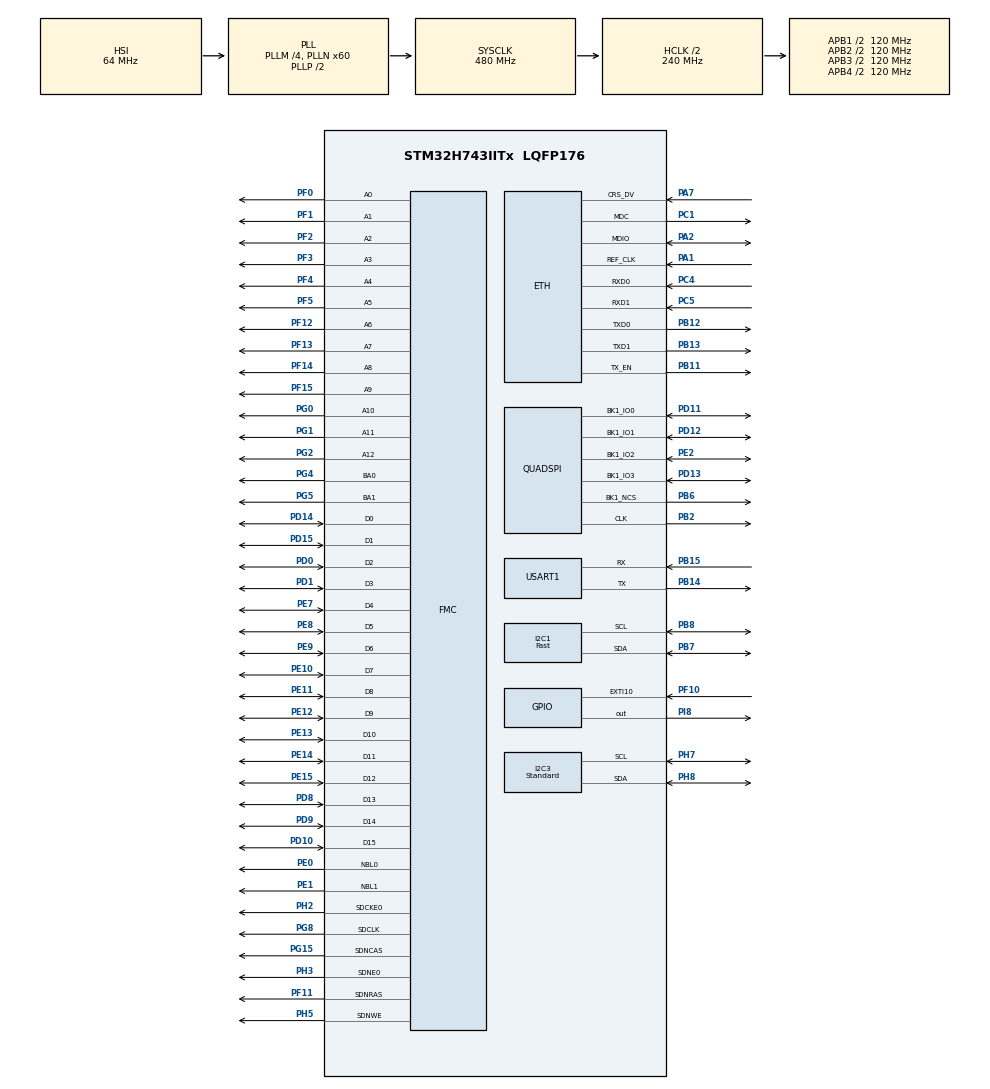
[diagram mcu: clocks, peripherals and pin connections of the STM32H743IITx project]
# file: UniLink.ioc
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CORTEX_M7.BaseAddress_S-Cortex_Memory_Protection_Unit_Region1_Settings_S=0xC0000000
CORTEX_M7.CPU_ICache=Disabled
CORTEX_M7.Enable_S-Cortex_Memory_Protection_Unit_Region1_Settings_S=MPU_REGION_ENABLE
CORTEX_M7.IsBufferable_S-Cortex_Memory_Protection_Unit_Region1_Settings_S=MPU_ACCESS_BUFFERABLE
CORTEX_M7.IsCacheable_S-Cortex_Memory_Protection_Unit_Region1_Settings_S=MPU_ACCESS_CACHEABLE
CORTEX_M7.Size_S-Cortex_Memory_Protection_Unit_Region1_Settings_S=MPU_REGION_SIZE_32MB
CORTEX_M7.TypeExtField_S-Cortex_Memory_Protection_Unit_Region1_Settings_S=MPU_TEX_LEVEL1
CORTEX_M7.default_mode_Activation=0
CRC.CRCLength=CRC_POLYLENGTH_16B
CRC.DefaultInitValueUse=DEFAULT_INIT_VALUE_DISABLE
CRC.DefaultPolynomialUse=DEFAULT_POLYNOMIAL_DISABLE
CRC.GeneratingPolynomial=X15+X2+X0
CRC.InitValue=0xffff
CRC.InputDataInversionMode=CRC_INPUTDATA_INVERSION_BYTE
CRC.OutputDataInversionMode=CRC_OUTPUTDATA_INVERSION_ENABLE
Dma.I2C1_RX.0.Direction=DMA_PERIPH_TO_MEMORY
Dma.I2C1_RX.0.EventEnable=DISABLE
Dma.I2C1_RX.0.FIFOMode=DMA_FIFOMODE_DISABLE
Dma.I2C1_RX.0.Instance=DMA1_Stream0
Dma.I2C1_RX.0.MemDataAlignment=DMA_MDATAALIGN_BYTE
Dma.I2C1_RX.0.MemInc=DMA_MINC_ENABLE
Dma.I2C1_RX.0.Mode=DMA_NORMAL
Dma.I2C1_RX.0.PeriphDataAlignment=DMA_PDATAALIGN_BYTE
Dma.I2C1_RX.0.PeriphInc=DMA_PINC_DISABLE
Dma.I2C1_RX.0.Polarity=HAL_DMAMUX_REQ_GEN_RISING
Dma.I2C1_RX.0.Priority=DMA_PRIORITY_VERY_HIGH
Dma.I2C1_RX.0.RequestNumber=1
Dma.I2C1_RX.0.SignalID=NONE
Dma.I2C1_RX.0.SyncEnable=DISABLE
Dma.I2C1_RX.0.SyncPolarity=HAL_DMAMUX_SYNC_NO_EVENT
Dma.I2C1_RX.0.SyncRequestNumber=1
Dma.I2C1_RX.0.SyncSignalID=NONE
Dma.I2C1_TX.1.Direction=DMA_MEMORY_TO_PERIPH
Dma.I2C1_TX.1.EventEnable=DISABLE
Dma.I2C1_TX.1.FIFOMode=DMA_FIFOMODE_DISABLE
Dma.I2C1_TX.1.Instance=DMA1_Stream1
Dma.I2C1_TX.1.MemDataAlignment=DMA_MDATAALIGN_BYTE
Dma.I2C1_TX.1.MemInc=DMA_MINC_ENABLE
Dma.I2C1_TX.1.Mode=DMA_NORMAL
Dma.I2C1_TX.1.PeriphDataAlignment=DMA_PDATAALIGN_BYTE
Dma.I2C1_TX.1.PeriphInc=DMA_PINC_DISABLE
Dma.I2C1_TX.1.Polarity=HAL_DMAMUX_REQ_GEN_RISING
Dma.I2C1_TX.1.Priority=DMA_PRIORITY_VERY_HIGH
Dma.I2C1_TX.1.RequestNumber=1
Dma.I2C1_TX.1.SignalID=NONE
Dma.I2C1_TX.1.SyncEnable=DISABLE
Dma.I2C1_TX.1.SyncPolarity=HAL_DMAMUX_SYNC_NO_EVENT
Dma.I2C1_TX.1.SyncRequestNumber=1
Dma.I2C1_TX.1.SyncSignalID=NONE
Dma.Request0=I2C1_RX
Dma.Request1=I2C1_TX
Dma.Request2=USART1_RX
Dma.Request3=USART1_TX
Dma.USART1_RX.2.Direction=DMA_PERIPH_TO_MEMORY
Dma.USART1_RX.2.EventEnable=DISABLE
Dma.USART1_RX.2.FIFOMode=DMA_FIFOMODE_DISABLE
Dma.USART1_RX.2.Instance=DMA1_Stream2
Dma.USART1_RX.2.MemDataAlignment=DMA_MDATAALIGN_BYTE
Dma.USART1_RX.2.MemInc=DMA_MINC_ENABLE
Dma.USART1_RX.2.Mode=DMA_NORMAL
Dma.USART1_RX.2.PeriphDataAlignment=DMA_PDATAALIGN_BYTE
Dma.USART1_RX.2.PeriphInc=DMA_PINC_DISABLE
Dma.USART1_RX.2.Polarity=HAL_DMAMUX_REQ_GEN_RISING
Dma.USART1_RX.2.Priority=DMA_PRIORITY_VERY_HIGH
Dma.USART1_RX.2.RequestNumber=1
Dma.USART1_RX.2.SignalID=NONE
Dma.USART1_RX.2.SyncEnable=DISABLE
Dma.USART1_RX.2.SyncPolarity=HAL_DMAMUX_SYNC_NO_EVENT
Dma.USART1_RX.2.SyncRequestNumber=1
Dma.USART1_RX.2.SyncSignalID=NONE
Dma.USART1_TX.3.Direction=DMA_MEMORY_TO_PERIPH
Dma.USART1_TX.3.EventEnable=DISABLE
Dma.USART1_TX.3.FIFOMode=DMA_FIFOMODE_DISABLE
Dma.USART1_TX.3.Instance=DMA1_Stream3
Dma.USART1_TX.3.MemDataAlignment=DMA_MDATAALIGN_BYTE
Dma.USART1_TX.3.MemInc=DMA_MINC_ENABLE
Dma.USART1_TX.3.Mode=DMA_NORMAL
Dma.USART1_TX.3.PeriphDataAlignment=DMA_PDATAALIGN_BYTE
Dma.USART1_TX.3.PeriphInc=DMA_PINC_DISABLE
Dma.USART1_TX.3.Polarity=HAL_DMAMUX_REQ_GEN_RISING
Dma.USART1_TX.3.Priority=DMA_PRIORITY_VERY_HIGH
Dma.USART1_TX.3.RequestNumber=1
Dma.USART1_TX.3.SignalID=NONE
Dma.USART1_TX.3.SyncEnable=DISABLE
Dma.USART1_TX.3.SyncPolarity=HAL_DMAMUX_SYNC_NO_EVENT
Dma.USART1_TX.3.SyncRequestNumber=1
Dma.USART1_TX.3.SyncSignalID=NONE
ETH.MediaInterface=HAL_ETH_RMII_MODE
FMC.CASLatency1=FMC_SDRAM_CAS_LATENCY_3
FMC.ColumnBitsNumber1=FMC_SDRAM_COLUMN_BITS_NUM_9
FMC.ExitSelfRefreshDelay1=8
FMC.LoadToActiveDelay1=2
FMC.RCDDelay1=6
FMC.RPDelay1=2
FMC.ReadBurst1=FMC_SDRAM_RBURST_ENABLE
FMC.ReadPipeDelay1=FMC_SDRAM_RPIPE_DELAY_1
FMC.RowCycleDelay1=6
FMC.SDClockPeriod1=FMC_SDRAM_CLOCK_PERIOD_2
FMC.SelfRefreshTime1=6
FMC.WriteRecoveryTime1=2
I2C1.I2C_Speed_Mode=I2C_Fast
I2C1.Timing=0x00B03FDB
I2C3.I2C_Speed_Mode=I2C_Standard
I2C3.Timing=0x307075B1
IWDG1.Prescaler=IWDG_PRESCALER_256
IWDG1.Reload=749
IWDG1.Window=0x0FFF
LWIP.BSP.number=1
LWIP.GATEWAY_ADDRESS=192.168.020.001
LWIP.IP_ADDRESS=192.168.020.133
LWIP.LWIP_AUTOIP=1
LWIP.LWIP_DHCP=1
LWIP.LWIP_DHCP_BOOTP_FILE=0
LWIP.LWIP_DNS=1
LWIP.LWIP_IPV6=1
LWIP.LWIP_NETIF_HOSTNAME=1
LWIP.LWIP_NETIF_HOSTNAME_NAME=UniLink
LWIP.LWIP_RAM_HEAP_POINTER=0x30020000
LWIP.LWIP_SNTP=1
LWIP.MEMP_NUM_SYS_TIMEOUT=11
LWIP.MEM_SIZE=131048
LWIP.NETMASK_ADDRESS=255.255.255.255
LWIP.SNTP_COMP_ROUNDTRIP=1
LWIP.SNTP_UPDATE_DELAY=3600000
LWIP.TCP_MSS=1460
LWIP.TCP_SND_BUF=5840
LWIP.TCP_SND_QUEUELEN=16
LWIP.Version=v2.1.2_Cube
LWIP0.BSP.STBoard=false
LWIP0.BSP.api=BSP_COMPONENT_DRIVER
LWIP0.BSP.component=LAN8742
LWIP0.BSP.instance=LAN8742
LWIP0.BSP.name=Driver_PHY
LWIP0.BSP.semaphore=S_LAN8742
LWIP0.BSP.solution=LAN8742
Mcu.Family=STM32H7
Mcu.Name=STM32H743IITx
Mcu.Package=LQFP176
NVIC.DMA1_Stream0_IRQn=true\:0\:0\:false\:false\:true\:false\:true\:true
NVIC.DMA1_Stream1_IRQn=true\:0\:0\:false\:false\:true\:false\:true\:true
NVIC.DMA1_Stream2_IRQn=true\:0\:0\:false\:false\:true\:false\:true\:true
NVIC.DMA1_Stream3_IRQn=true\:0\:0\:false\:false\:true\:false\:true\:true
NVIC.ETH_IRQn=true\:0\:0\:false\:false\:true\:true\:true\:true
NVIC.EXTI15_10_IRQn=true\:0\:0\:false\:false\:true\:true\:true\:true
NVIC.FMC_IRQn=true\:0\:0\:false\:false\:true\:true\:true\:true
NVIC.PriorityGroup=NVIC_PRIORITYGROUP_4
NVIC.TIM2_IRQn=true\:0\:0\:false\:false\:true\:true\:true\:true
NVIC.USART1_IRQn=true\:0\:0\:false\:false\:true\:true\:true\:true
PA1.GPIO_Speed=GPIO_SPEED_FREQ_VERY_HIGH
PA1.Mode=RMII
PA1.Signal=ETH_REF_CLK
PA13\ (JTMS/SWDIO).Mode=Serial_Wire
PA13\ (JTMS/SWDIO).Signal=DEBUG_JTMS-SWDIO
PA14\ (JTCK/SWCLK).Mode=Serial_Wire
PA14\ (JTCK/SWCLK).Signal=DEBUG_JTCK-SWCLK
PA2.GPIO_Speed=GPIO_SPEED_FREQ_VERY_HIGH
PA2.Mode=RMII
PA2.Signal=ETH_MDIO
PA7.GPIO_Speed=GPIO_SPEED_FREQ_VERY_HIGH
PA7.Mode=RMII
PA7.Signal=ETH_CRS_DV
PB11.GPIO_Speed=GPIO_SPEED_FREQ_VERY_HIGH
PB11.Mode=RMII
PB11.Signal=ETH_TX_EN
PB12.GPIO_Speed=GPIO_SPEED_FREQ_VERY_HIGH
PB12.Mode=RMII
PB12.Signal=ETH_TXD0
PB13.GPIO_Speed=GPIO_SPEED_FREQ_VERY_HIGH
PB13.Mode=RMII
PB13.Signal=ETH_TXD1
PB14.Mode=Asynchronous
PB14.Signal=USART1_TX
PB15.Mode=Asynchronous
PB15.Signal=USART1_RX
PB2.Mode=Single Bank 1
PB2.Signal=QUADSPI_CLK
PB6.Mode=Single Bank 1
PB6.Signal=QUADSPI_BK1_NCS
PB7.Mode=I2C
PB7.Signal=I2C1_SDA
PB8.Mode=I2C
PB8.Signal=I2C1_SCL
PC1.GPIO_Speed=GPIO_SPEED_FREQ_VERY_HIGH
PC1.Mode=RMII
PC1.Signal=ETH_MDC
PC14-OSC32_IN\ (OSC32_IN).Mode=LSE-External-Oscillator
PC14-OSC32_IN\ (OSC32_IN).Signal=RCC_OSC32_IN
PC15-OSC32_OUT\ (OSC32_OUT).Mode=LSE-External-Oscillator
PC15-OSC32_OUT\ (OSC32_OUT).Signal=RCC_OSC32_OUT
PC4.GPIO_Speed=GPIO_SPEED_FREQ_VERY_HIGH
PC4.Mode=RMII
PC4.Signal=ETH_RXD0
PC5.GPIO_Speed=GPIO_SPEED_FREQ_VERY_HIGH
PC5.Mode=RMII
PC5.Signal=ETH_RXD1
PD0.Signal=FMC_D2_DA2
PD1.Signal=FMC_D3_DA3
PD10.Signal=FMC_D15_DA15
PD11.Mode=Single Bank 1
PD11.Signal=QUADSPI_BK1_IO0
PD12.Mode=Single Bank 1
PD12.Signal=QUADSPI_BK1_IO1
PD13.Mode=Single Bank 1
PD13.Signal=QUADSPI_BK1_IO3
PD14.Signal=FMC_D0_DA0
PD15.Signal=FMC_D1_DA1
PD8.Signal=FMC_D13_DA13
PD9.Signal=FMC_D14_DA14
PE0.Signal=FMC_NBL0
PE1.Signal=FMC_NBL1
PE10.Signal=FMC_D7_DA7
PE11.Signal=FMC_D8_DA8
PE12.Signal=FMC_D9_DA9
PE13.Signal=FMC_D10_DA10
PE14.Signal=FMC_D11_DA11
PE15.Signal=FMC_D12_DA12
PE2.Mode=Single Bank 1
PE2.Signal=QUADSPI_BK1_IO2
PE7.Signal=FMC_D4_DA4
PE8.Signal=FMC_D5_DA5
PE9.Signal=FMC_D6_DA6
PF0.Signal=FMC_A0
PF1.Signal=FMC_A1
PF10.GPIO_ModeDefaultEXTI=GPIO_MODE_IT_FALLING
PF10.GPIO_PuPd=GPIO_PULLUP
PF10.Signal=GPXTI10
PF11.Signal=FMC_SDNRAS
PF12.Signal=FMC_A6
PF13.Signal=FMC_A7
PF14.Signal=FMC_A8
PF15.Signal=FMC_A9
PF2.Signal=FMC_A2
PF3.Signal=FMC_A3
PF4.Signal=FMC_A4
PF5.Signal=FMC_A5
PG0.Signal=FMC_A10
PG1.Signal=FMC_A11
PG15.Signal=FMC_SDNCAS
PG2.Signal=FMC_A12
PG4.Signal=FMC_A14_BA0
PG5.Signal=FMC_A15_BA1
PG8.Signal=FMC_SDCLK
PH0-OSC_IN\ (PH0).Mode=HSE-External-Oscillator
PH0-OSC_IN\ (PH0).Signal=RCC_OSC_IN
PH1-OSC_OUT\ (PH1).Mode=HSE-External-Oscillator
PH1-OSC_OUT\ (PH1).Signal=RCC_OSC_OUT
PH2.Mode=SdramChipSelect1_1
PH2.Signal=FMC_SDCKE0
PH3.Mode=SdramChipSelect1_1
PH3.Signal=FMC_SDNE0
PH5.Signal=FMC_SDNWE
PH7.Mode=I2C
PH7.Signal=I2C3_SCL
PH8.Mode=I2C
PH8.Signal=I2C3_SDA
PI8.GPIO_ModeDefaultOutputPP=GPIO_MODE_OUTPUT_OD
PI8.GPIO_PuPd=GPIO_PULLUP
PI8.PinState=GPIO_PIN_RESET
PI8.Signal=GPIO_Output
ProjectManager.HeapSize=0x200
ProjectManager.StackSize=0x400
ProjectManager.TargetToolchain=STM32CubeIDE
RCC.ADCFreq_Value=129000000
RCC.APB1Freq_Value=120000000
RCC.APB2Freq_Value=120000000
RCC.APB3Freq_Value=120000000
RCC.APB4Freq_Value=120000000
RCC.CortexFreq_Value=480000000
RCC.D1PPRE=RCC_APB3_DIV2
RCC.D2PPRE1=RCC_APB1_DIV2
RCC.D2PPRE2=RCC_APB2_DIV2
RCC.D3PPRE=RCC_APB4_DIV2
RCC.DIVM1=4
RCC.DIVN1=60
RCC.HCLKFreq_Value=240000000
RCC.HPRE=RCC_HCLK_DIV2
RCC.PLL2FRACN=0
RCC.PLL3FRACN=0
RCC.PLLFRACN=0
RCC.SYSCLKFreq_VALUE=480000000
RCC.SYSCLKSource=RCC_SYSCLKSOURCE_PLLCLK
RCC.USBFreq_Value=480000000
SH.FMC_A0.0=FMC_A0,13b-sda1
SH.FMC_A1.0=FMC_A1,13b-sda1
SH.FMC_A10.0=FMC_A10,13b-sda1
SH.FMC_A11.0=FMC_A11,13b-sda1
SH.FMC_A12.0=FMC_A12,13b-sda1
SH.FMC_A14_BA0.0=FMC_BA0,FourSdramBanks1
SH.FMC_A15_BA1.0=FMC_BA1,FourSdramBanks1
SH.FMC_A2.0=FMC_A2,13b-sda1
SH.FMC_A3.0=FMC_A3,13b-sda1
SH.FMC_A4.0=FMC_A4,13b-sda1
SH.FMC_A5.0=FMC_A5,13b-sda1
SH.FMC_A6.0=FMC_A6,13b-sda1
SH.FMC_A7.0=FMC_A7,13b-sda1
SH.FMC_A8.0=FMC_A8,13b-sda1
SH.FMC_A9.0=FMC_A9,13b-sda1
SH.FMC_D0_DA0.0=FMC_D0,sd-16b-d1
SH.FMC_D10_DA10.0=FMC_D10,sd-16b-d1
SH.FMC_D11_DA11.0=FMC_D11,sd-16b-d1
SH.FMC_D12_DA12.0=FMC_D12,sd-16b-d1
SH.FMC_D13_DA13.0=FMC_D13,sd-16b-d1
SH.FMC_D14_DA14.0=FMC_D14,sd-16b-d1
SH.FMC_D15_DA15.0=FMC_D15,sd-16b-d1
SH.FMC_D1_DA1.0=FMC_D1,sd-16b-d1
SH.FMC_D2_DA2.0=FMC_D2,sd-16b-d1
SH.FMC_D3_DA3.0=FMC_D3,sd-16b-d1
SH.FMC_D4_DA4.0=FMC_D4,sd-16b-d1
SH.FMC_D5_DA5.0=FMC_D5,sd-16b-d1
SH.FMC_D6_DA6.0=FMC_D6,sd-16b-d1
SH.FMC_D7_DA7.0=FMC_D7,sd-16b-d1
SH.FMC_D8_DA8.0=FMC_D8,sd-16b-d1
SH.FMC_D9_DA9.0=FMC_D9,sd-16b-d1
SH.FMC_NBL0.0=FMC_NBL0,Sd2ByteEnable1
SH.FMC_NBL1.0=FMC_NBL1,Sd2ByteEnable1
SH.FMC_SDCLK.0=FMC_SDCLK,13b-sda1
SH.FMC_SDNCAS.0=FMC_SDNCAS,13b-sda1
SH.FMC_SDNRAS.0=FMC_SDNRAS,13b-sda1
SH.FMC_SDNWE.0=FMC_SDNWE,13b-sda1
TIM2.AutoReloadPreload=TIM_AUTORELOAD_PRELOAD_ENABLE
TIM2.Period=999
TIM2.Prescaler=199
USART1.FIFOMode=FIFOMODE_DISABLE
USART1.VirtualMode-Asynchronous=VM_ASYNC
VP_CRC_VS_CRC.Mode=CRC_Activate
VP_IWDG1_VS_IWDG.Mode=IWDG_Activate
VP_LWIP_VS_Enabled.Mode=Enabled
VP_MEMORYMAP_VS_MEMORYMAP.Mode=CurAppReg
VP_RNG_VS_RNG.Mode=RNG_Activate
VP_TIM2_VS_ClockSourceINT.Mode=Internal
board=custom

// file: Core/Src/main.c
/* USER CODE BEGIN Header */
/**
  ******************************************************************************
  * @file           : main.c
  * @brief          : Main program body
  ******************************************************************************
  * @attention
  *
  * Copyright (c) 2025 STMicroelectronics.
  * All rights reserved.
  *
  * This software is licensed under terms that can be found in the LICENSE file
  * in the root directory of this software component.
  * If no LICENSE file comes with this software, it is provided AS-IS.
  *
  ******************************************************************************
  */
/* USER CODE END Header */
#include "main.h"
#include "crc.h"
#include "dma.h"
#include "i2c.h"
#include "iwdg.h"
#include "lwip.h"
#include "memorymap.h"
#include "quadspi.h"
#include "rng.h"
#include "tim.h"
#include "usart.h"
#include "gpio.h"
#include "fmc.h"

/* USER CODE BEGIN Includes */

#include <stdio.h>
#include <string.h>

#include "at24c32.h"
#include "bme280.h"
#include "cJSON.h"
#include "crc16_modbus.h"
#include "dns_resolver.h"
#include "ds3231.h"
#include "link.h"
#include "sdram.h"
#include "shtc.h"
#include "sntp.h"
#include "tcp_client_services.h"
#include "prot/dhcp.h"
/* USER CODE END Includes */

/* USER CODE BEGIN PM */
extern struct netif gnetif;

uint8_t tcp_connected_flag = 0;
/* USER CODE END PM */

void SystemClock_Config(void);
/* USER CODE BEGIN PFP */

#define PUTCHAR_PROTOTYPE int __io_putchar(int ch)
PUTCHAR_PROTOTYPE {
    HAL_UART_Transmit(&huart1, (uint8_t *) &ch, 1, 0xFFFF);
    return ch;
}

uint8_t uartRxIndex = 0;
char uartRxBuffer[UART_RX_BUFFER_SIZE];
uint8_t uartReceiveByte;

uint8_t device_sn[16];

void HAL_GPIO_EXTI_Callback(uint16_t GPIO_Pin) {
    if (GPIO_Pin == GPIO_PIN_10) {
        printf("EXTI15_10 Triggered!\n");
        DS3231_StatusReg_t ds3231_status_reg;
        DS3231_ReadStatusReg(&ds3231_status_reg);
        ds3231_status_reg.bits.A1F = 0;
        while (HAL_OK != DS3231_WriteStatusReg(&ds3231_status_reg)) {
            HAL_Delay(5);
        }
    }
}

void set_system_time(time_t seconds, uint32_t us) {
    const time_t local_ts = seconds + 8 * 3600;
    struct tm time_info;
    gmtime_r(&local_ts, &time_info);
    DS3231_TimeType rtcTime;
    rtcTime.sec = time_info.tm_sec; // 0–59
    rtcTime.min = time_info.tm_min; // 0–59
    rtcTime.hour = time_info.tm_hour; // 0–23 (UTC)
    rtcTime.week = time_info.tm_wday; // 0–6
    rtcTime.day = time_info.tm_mday; // 1–31
    rtcTime.month = time_info.tm_mon + 1; // tm_mon: 0–11
    rtcTime.year = time_info.tm_year - 100; // since 1900
    if (HAL_OK == DS3231_SetTime(&rtcTime)) {
        printf("NTP 同步 RTC 成功\n");
    } else {
        printf("NTP 同步 RTC 失败，重启系统\n");
        NVIC_SystemReset();
    }
}

/* USER CODE END PFP */

int main(void)
{

  /* MCU Configuration--------------------------------------------------------*/

  /* Reset of all peripherals, Initializes the Flash interface and the Systick. */
  HAL_Init();

  /* Configure the system clock */
  SystemClock_Config();

  /* Initialize all configured peripherals */
  MX_GPIO_Init();
  MX_DMA_Init();
  MX_USART1_UART_Init();
  MX_I2C1_Init();
  MX_LWIP_Init();
  MX_IWDG1_Init();
  MX_CRC_Init();
  MX_I2C3_Init();
  MX_RNG_Init();
  MX_TIM2_Init();
  MX_FMC_Init();
  MX_QUADSPI_Init();
  /* USER CODE BEGIN 2 */
    HAL_UART_Receive_IT(&huart1, &uartReceiveByte, 1);
    if (HAL_OK != EEPROM_Init(&hi2c1)) {
        printf("初始化eeprom失败\n");
        NVIC_SystemReset();
    }
    DS3231_TimeType rtcTime;
    DS3231_GetTime(&rtcTime);
    printf("启动时间:%04d-%02d-%02d %02d:%02d:%02d\r\n",
           rtcTime.year, rtcTime.month, rtcTime.day,
           rtcTime.hour, rtcTime.min, rtcTime.sec);

    struct dhcp *dhcp;
    do {
        MX_LWIP_Process();
        dhcp = netif_dhcp_data(&gnetif);
    } while (dhcp == NULL || dhcp->state != DHCP_STATE_BOUND || !ip6_addr_isvalid(netif_ip6_addr_state(&gnetif, 1)));
    HAL_IWDG_Refresh(&hiwdg1);
    printf("IPv4 Address:%s\n", ip4addr_ntoa(netif_ip4_addr(&gnetif)));
    printf("IPv6 Address:%s \n", ip6addr_ntoa(netif_ip6_addr(&gnetif, 1)));
    //SDRAM_PerformanceTest();
    const ip_addr_t ntp_ip = get_ntp_ip();
    printf("NTP Server IP: %s\n", ipaddr_ntoa(&ntp_ip));
    const ip_addr_t api_ip = get_api_ip();
    printf("API Server IP: %s\n", ipaddr_ntoa(&api_ip));
    HAL_IWDG_Refresh(&hiwdg1);
    SHTC3_Init();
    sntp_setoperatingmode(SNTP_OPMODE_POLL);
    // 设置时区为 GMT+8
    // setenv("TZ", "UTC+8", 1);
    // tzset(); // 应用新的时区设置
    sntp_init();
    sntp_setservername(0, "ntp.aliyun.com");
    BME280_Config(OSRS_2, OSRS_16, OSRS_1, MODE_NORMAL, T_SB_0p5, IIR_16);
    tcp_client_init(api_ip);
    HAL_TIM_Base_Start_IT(&htim2);
  /* USER CODE END 2 */

  /* Infinite loop */
    while (1) {

    /* USER CODE BEGIN 3 */
        MX_LWIP_Process();
        process_data();
    }
  /* USER CODE END 3 */
}

void SystemClock_Config(void)
{
  RCC_OscInitTypeDef RCC_OscInitStruct = {0};
  RCC_ClkInitTypeDef RCC_ClkInitStruct = {0};

  /** Supply configuration update enable
  */
  HAL_PWREx_ConfigSupply(PWR_LDO_SUPPLY);

  /** Configure the main internal regulator output voltage
  */
  __HAL_PWR_VOLTAGESCALING_CONFIG(PWR_REGULATOR_VOLTAGE_SCALE0);

  while(!__HAL_PWR_GET_FLAG(PWR_FLAG_VOSRDY)) {}

  /** Initializes the RCC Oscillators according to the specified parameters
  * in the RCC_OscInitTypeDef structure.
  */
  RCC_OscInitStruct.OscillatorType = RCC_OSCILLATORTYPE_HSI48|RCC_OSCILLATORTYPE_HSI
                              |RCC_OSCILLATORTYPE_LSI;
  RCC_OscInitStruct.HSIState = RCC_HSI_DIV1;
  RCC_OscInitStruct.HSICalibrationValue = RCC_HSICALIBRATION_DEFAULT;
  RCC_OscInitStruct.LSIState = RCC_LSI_ON;
  RCC_OscInitStruct.HSI48State = RCC_HSI48_ON;
  RCC_OscInitStruct.PLL.PLLState = RCC_PLL_ON;
  RCC_OscInitStruct.PLL.PLLSource = RCC_PLLSOURCE_HSI;
  RCC_OscInitStruct.PLL.PLLM = 4;
  RCC_OscInitStruct.PLL.PLLN = 60;
  RCC_OscInitStruct.PLL.PLLP = 2;
  RCC_OscInitStruct.PLL.PLLQ = 2;
  RCC_OscInitStruct.PLL.PLLR = 2;
  RCC_OscInitStruct.PLL.PLLRGE = RCC_PLL1VCIRANGE_3;
  RCC_OscInitStruct.PLL.PLLVCOSEL = RCC_PLL1VCOWIDE;
  RCC_OscInitStruct.PLL.PLLFRACN = 0;
  if (HAL_RCC_OscConfig(&RCC_OscInitStruct) != HAL_OK)
  {
    Error_Handler();
  }

  /** Initializes the CPU, AHB and APB buses clocks
  */
  RCC_ClkInitStruct.ClockType = RCC_CLOCKTYPE_HCLK|RCC_CLOCKTYPE_SYSCLK
                              |RCC_CLOCKTYPE_PCLK1|RCC_CLOCKTYPE_PCLK2
                              |RCC_CLOCKTYPE_D3PCLK1|RCC_CLOCKTYPE_D1PCLK1;
  RCC_ClkInitStruct.SYSCLKSource = RCC_SYSCLKSOURCE_PLLCLK;
  RCC_ClkInitStruct.SYSCLKDivider = RCC_SYSCLK_DIV1;
  RCC_ClkInitStruct.AHBCLKDivider = RCC_HCLK_DIV2;
  RCC_ClkInitStruct.APB3CLKDivider = RCC_APB3_DIV2;
  RCC_ClkInitStruct.APB1CLKDivider = RCC_APB1_DIV2;
  RCC_ClkInitStruct.APB2CLKDivider = RCC_APB2_DIV2;
  RCC_ClkInitStruct.APB4CLKDivider = RCC_APB4_DIV2;

  if (HAL_RCC_ClockConfig(&RCC_ClkInitStruct, FLASH_LATENCY_4) != HAL_OK)
  {
    Error_Handler();
  }
}

void Error_Handler(void)
{
    __disable_irq();
    while (1) {
    }
}
